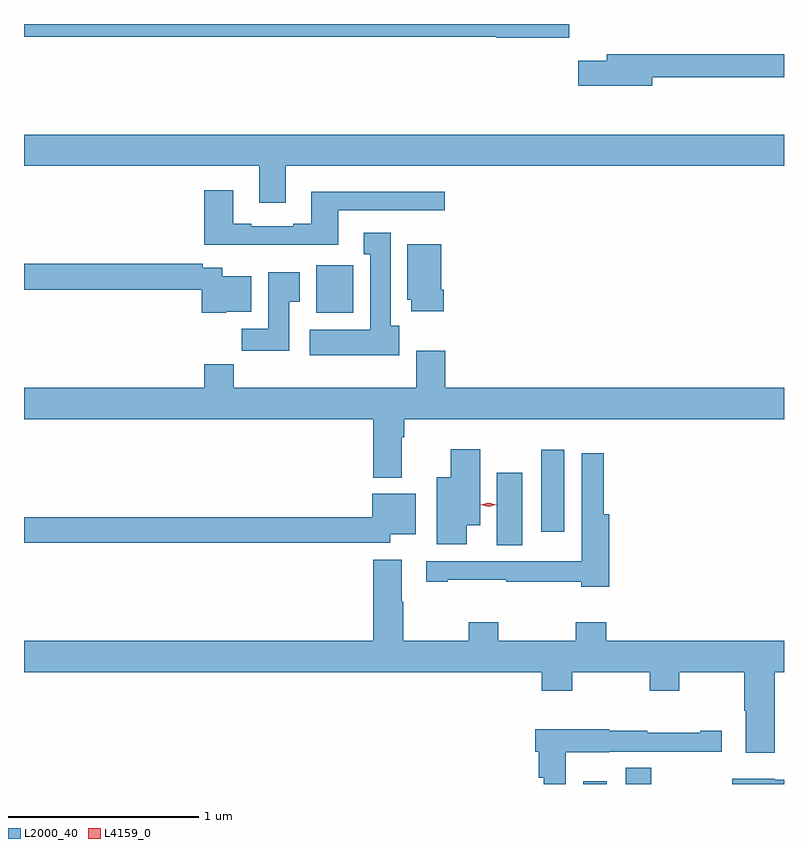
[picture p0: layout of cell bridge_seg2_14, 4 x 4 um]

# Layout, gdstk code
import gdstk
lib = gdstk.Library(unit=1e-6, precision=1e-09)
def R(c, l, rs):  # rectangles x0, y0, x1, y1
    for r in rs: c.add(gdstk.rectangle(r[:2], r[2:], *l))
def P(c, l, *ps):  # polygons
    for p in ps: c.add(gdstk.Polygon(p, *l))
L2000_40 = (2000, 40)
L4159_0 = (4159, 0)

bridge_seg2_14 = lib.new_cell('bridge_seg2_14')
R(bridge_seg2_14, L2000_40, [(809.606,612.415,809.728,612.43), (809.828,612.415,809.962,612.5), (809.15,613.672,809.284,614.053), (809.384,613.743,809.506,614.173), (808.199,614.894,808.395,615.145)])
P(bridge_seg2_14, L2000_40, [(809.533,616.415),(806.662,616.415),(806.662,616.348),(809.148,616.348),(809.148,616.343),(809.533,616.343)],
  [(809.968,616.134),(810.662,616.134),(810.662,616.255),(809.729,616.255),(809.729,616.221),(809.58,616.221),(809.58,616.091),(809.968,616.091)],
  [(808.039,615.668),(810.662,615.668),(810.662,615.832),(806.662,615.832),(806.662,615.668),(807.899,615.668),(807.899,615.474),(808.039,615.474)],
  [(808.315,615.435),(808.876,615.435),(808.876,615.532),(808.175,615.532),(808.175,615.364),(808.079,615.364),(808.079,615.351),(807.859,615.351),(807.859,615.364),(807.763,615.364),(807.763,615.541),(807.611,615.541),(807.611,615.254),(808.315,615.254)],
  [(808.636,614.826),(808.591,614.826),(808.591,615.316),(808.451,615.316),(808.451,615.203),(808.484,615.203),(808.484,614.806),(808.167,614.806),(808.167,614.672),(808.636,614.672)],
  [(808.871,615.016),(808.858,615.016),(808.858,615.256),(808.679,615.256),(808.679,614.964),(808.7,614.964),(808.7,614.904),(808.871,614.904)],
  [(807.726,614.9),(807.859,614.9),(807.859,615.088),(807.705,615.088),(807.705,615.132),(807.602,615.132),(807.602,615.152),(806.662,615.152),(806.662,615.016),(807.597,615.016),(807.597,614.894),(807.726,614.894)],
  [(808.057,614.953),(808.114,614.953),(808.114,615.109),(807.947,615.109),(807.947,614.812),(807.808,614.812),(807.808,614.694),(808.057,614.694)],
  [(808.651,614.24),(808.664,614.24),(808.664,614.336),(810.662,614.336),(810.662,614.5),(808.88,614.5),(808.88,614.695),(808.727,614.695),(808.727,614.5),(807.767,614.5),(807.767,614.624),(807.611,614.624),(807.611,614.5),(806.662,614.5),(806.662,614.336),(808.499,614.336),(808.499,614.027),(808.651,614.027)],
  [(808.993,613.778),(809.062,613.778),(809.062,614.176),(808.907,614.176),(808.907,614.029),(808.835,614.029),(808.835,613.677),(808.993,613.677)],
  [(809.741,613.834),(809.714,613.834),(809.714,614.155),(809.598,614.155),(809.598,613.588),(809.388,613.588),(809.388,613.587),(808.779,613.587),(808.779,613.479),(808.891,613.479),(808.891,613.489),(809.201,613.489),(809.201,613.479),(809.594,613.479),(809.594,613.454),(809.741,613.454)],
  [(808.59,613.73),(808.723,613.73),(808.723,613.942),(808.496,613.942),(808.496,613.82),(806.662,613.82),(806.662,613.684),(808.59,613.684)],
  [(810.614,613.004),(810.662,613.004),(810.662,613.168),(809.726,613.168),(809.726,613.267),(809.566,613.267),(809.566,613.168),(809.157,613.168),(809.157,613.267),(809.002,613.267),(809.002,613.168),(808.659,613.168),(808.659,613.373),(808.651,613.373),(808.651,613.594),(808.499,613.594),(808.499,613.168),(806.662,613.168),(806.662,613.004),(809.387,613.004),(809.387,612.905),(809.547,612.905),(809.547,613.004),(809.956,613.004),(809.956,612.905),(810.111,612.905),(810.111,613.004),(810.454,613.004),(810.454,612.8),(810.461,612.8),(810.461,612.579),(810.614,612.579)],
  [(809.514,612.581),(809.742,612.581),(809.742,612.585),(810.058,612.585),(810.058,612.584),(810.334,612.584),(810.334,612.694),(810.221,612.694),(810.221,612.684),(809.942,612.684),(809.942,612.694),(809.742,612.694),(809.742,612.703),(809.354,612.703),(809.354,612.585),(809.372,612.585),(809.372,612.449),(809.398,612.449),(809.398,612.415),(809.514,612.415)],
  [(810.662,612.437),(810.612,612.437),(810.612,612.442),(810.389,612.442),(810.389,612.415),(810.662,612.415)])
P(bridge_seg2_14, L4159_0, [(809.108,613.874),(809.067,613.884),(809.067,613.884),(809.067,613.884),(809.108,613.894),(809.148,613.884),(809.148,613.884),(809.148,613.884)])

lib.write_gds('bridge_seg2_14.gds')
